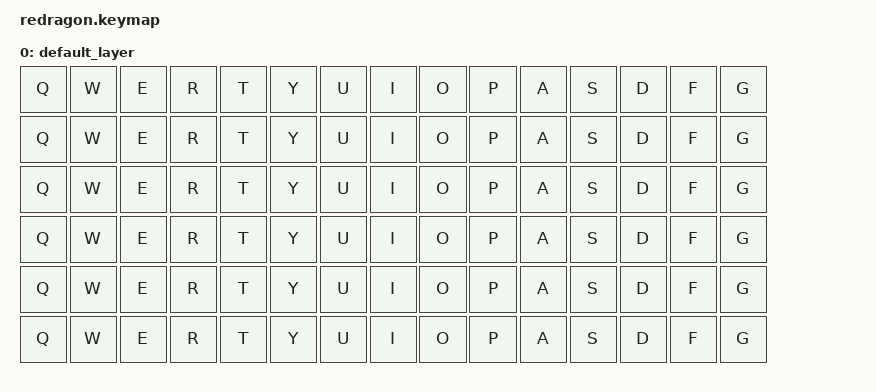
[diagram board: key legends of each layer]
#include <behaviors.dtsi>
#include <dt-bindings/zmk/keys.h>

/ {
    keymap {
        compatible = "zmk,keymap";

        default_layer {
            bindings = <
                &kp Q &kp W &kp E &kp R &kp T &kp Y &kp U &kp I &kp O &kp P &kp A &kp S &kp D &kp F &kp G
                &kp Q &kp W &kp E &kp R &kp T &kp Y &kp U &kp I &kp O &kp P &kp A &kp S &kp D &kp F &kp G
                &kp Q &kp W &kp E &kp R &kp T &kp Y &kp U &kp I &kp O &kp P &kp A &kp S &kp D &kp F &kp G
                &kp Q &kp W &kp E &kp R &kp T &kp Y &kp U &kp I &kp O &kp P &kp A &kp S &kp D &kp F &kp G
                &kp Q &kp W &kp E &kp R &kp T &kp Y &kp U &kp I &kp O &kp P &kp A &kp S &kp D &kp F &kp G
                &kp Q &kp W &kp E &kp R &kp T &kp Y &kp U &kp I &kp O &kp P &kp A &kp S &kp D &kp F &kp G
            >;
        };
    };
};
